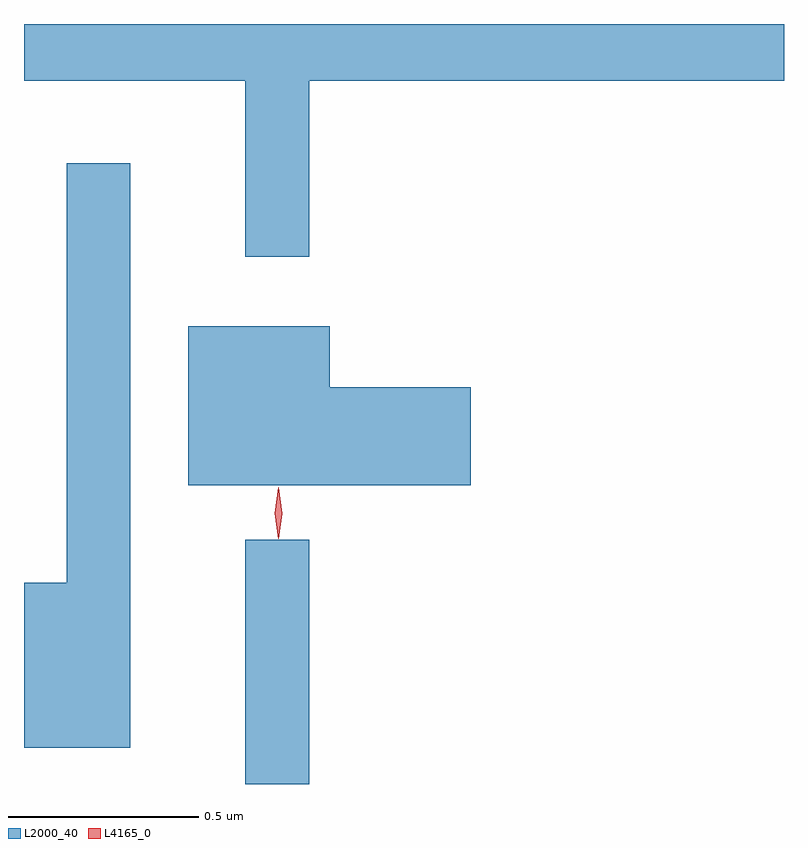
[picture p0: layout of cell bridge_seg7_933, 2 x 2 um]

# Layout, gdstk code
import gdstk
lib = gdstk.Library(unit=1e-6, precision=1e-09)
def R(c, l, rs):  # rectangles x0, y0, x1, y1
    for r in rs: c.add(gdstk.rectangle(r[:2], r[2:], *l))
def P(c, l, *ps):  # polygons
    for p in ps: c.add(gdstk.Polygon(p, *l))
L2000_40 = (2000, 40)
L4165_0 = (4165, 0)

bridge_seg7_933 = lib.new_cell('bridge_seg7_933')
R(bridge_seg7_933, L2000_40, [(467.611,1670.285,467.779,1670.928)])
P(bridge_seg7_933, L2000_40, [(467.779,1672.136),(469.029,1672.136),(469.029,1672.285),(467.029,1672.285),(467.029,1672.136),(467.611,1672.136),(467.611,1671.673),(467.779,1671.673)],
  [(467.309,1671.918),(467.141,1671.918),(467.141,1670.814),(467.029,1670.814),(467.029,1670.381),(467.309,1670.381)],
  [(468.204,1671.329),(467.834,1671.329),(467.834,1671.489),(467.461,1671.489),(467.461,1671.071),(468.204,1671.071)])
P(bridge_seg7_933, L4165_0, [(467.698,1670.93),(467.689,1670.998),(467.698,1671.065),(467.699,1671.066),(467.699,1671.065),(467.709,1670.998),(467.699,1670.93),(467.699,1670.93)],
  [(467.699,1670.933),(467.699,1670.933),(467.689,1670.996),(467.699,1671.059),(467.699,1671.06),(467.7,1671.059),(467.709,1670.996),(467.7,1670.933)])

lib.write_gds('bridge_seg7_933.gds')
